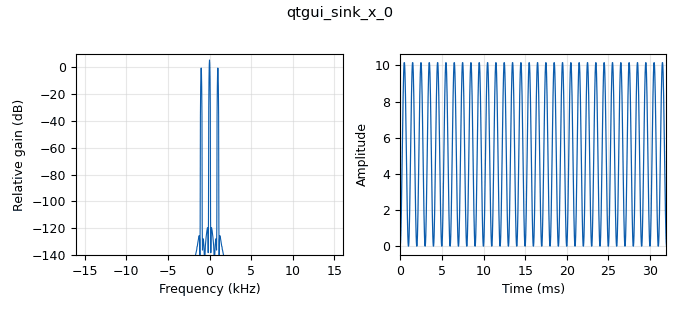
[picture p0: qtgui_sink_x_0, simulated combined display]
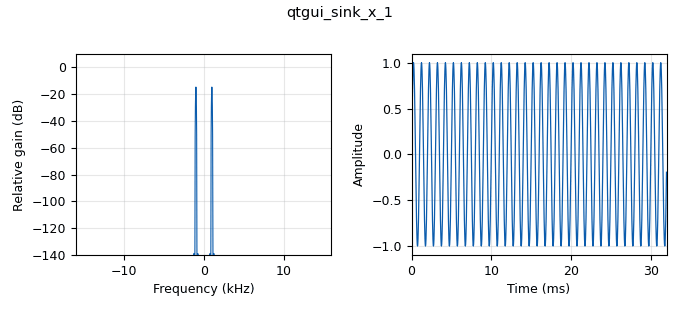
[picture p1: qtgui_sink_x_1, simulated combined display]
options:
  parameters:
    author: User
    generate_options: qt_gui
    id: practica1_acumulador
    output_language: python
    title: Not titled yet
  states: {}

blocks:
- name: samp_rate
  id: variable
  parameters:
    value: '32000'
  states: {}
- name: analog_sig_source_x_0
  id: analog_sig_source_x
  parameters:
    amp: '1'
    freq: '1000'
    offset: '0'
    phase: '0'
    samp_rate: samp_rate
    type: float
    waveform: analog.GR_SIN_WAVE
  states: {}
- name: blocks_vector_source_x_0
  id: blocks_vector_source_x
  parameters:
    repeat: 'True'
    type: float
    vector: (1, 2, -1)
  states: {state: disabled}
- name: epy_block_0
  id: epy_block
  parameters:
    _source_code: |-
      import numpy as np
      from gnuradio import gr

      class blk(gr.sync_block):

          def __init__(self):
              gr.sync_block.__init__(
                  self,
                  name="e_Acum",
                  in_sig=[np.float32],
                  out_sig=[np.float32]
              )

              # Estado interno (memoria)
              self.acum_anterior = np.float32(0)

          def work(self, input_items, output_items):

              x = input_items[0]
              y0 = output_items[0]

              N = len(x)
              if N == 0:
                  return 0

              # Acumulado continuo
              cumsum_local = np.cumsum(x)
              y0[:] = cumsum_local + self.acum_anterior

              # Actualizar estado para siguiente buffer
              self.acum_anterior = y0[N - 1]

              return N
  states: {}
- name: qtgui_sink_x_0
  id: qtgui_sink_x
  parameters:
    bw: samp_rate
    fc: '0'
    fftsize: '1024'
    type: float
  states: {}
- name: qtgui_sink_x_1
  id: qtgui_sink_x
  parameters:
    bw: samp_rate
    fc: '0'
    fftsize: '1024'
    type: float
  states: {}

connections:
- [analog_sig_source_x_0, '0', epy_block_0, '0']
- [analog_sig_source_x_0, '0', qtgui_sink_x_1, '0']
- [blocks_vector_source_x_0, '0', epy_block_0, '0']
- [epy_block_0, '0', qtgui_sink_x_0, '0']

metadata:
  file_format: 1
  grc_version: 3.10.12.0
